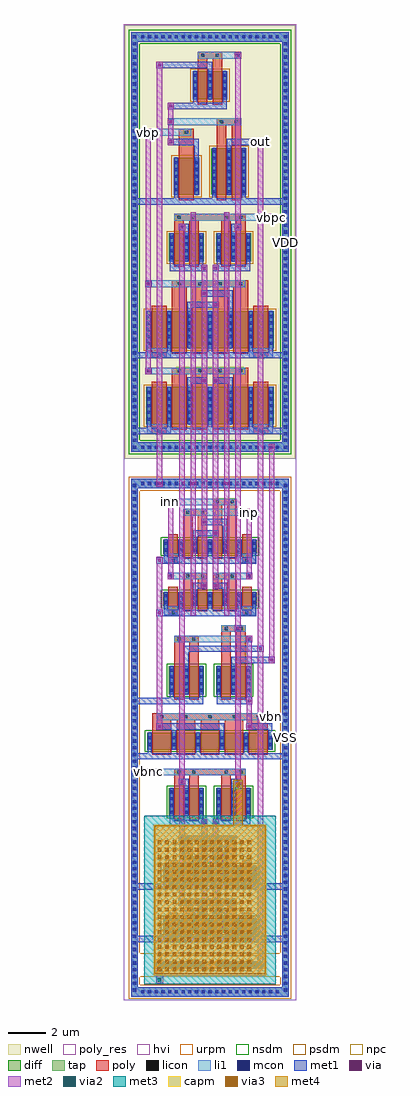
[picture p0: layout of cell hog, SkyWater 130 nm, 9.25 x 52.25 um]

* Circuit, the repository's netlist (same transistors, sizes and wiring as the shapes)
.subckt hog inp inn out vbn vbp vbnc vbpc VDD VSS
MXMm1 e1 c1 VSS VSS nfet_g5v0d10v5 w=3u l=0.5u
MXMm2 e2 c1 VSS VSS nfet_g5v0d10v5 w=3u l=0.5u
MXMcasn1 c1 vbnc e1 VSS nfet_g5v0d10v5 w=3u l=0.5u
MXMcasn2 s1_out vbnc e2 VSS nfet_g5v0d10v5 w=3u l=0.5u
MXMtail stail vbn VSS VSS nfet_g5v0d10v5 w=3.6u l=1u
MXMinb ndrv vbn VSS VSS nfet_g5v0d10v5 w=0.9u l=1u
MXMd1 d1 inn stail VSS nfet_g5v0d10v5 w=3u l=0.5u
MXMd2 d2 inp stail VSS nfet_g5v0d10v5 w=3u l=0.5u
MXMncs out ndrv VSS VSS nfet_g5v0d10v5 w=3u l=0.5u
MXMnls VDD s1_out ndrv VSS nfet_g5v0d10v5 w=3u l=0.5u
MXMpls VSS s1_out pdrv VDD pfet_g5v0d10v5 w=3u l=0.5u
MXMpcs out pdrv VDD VDD pfet_g5v0d10v5 w=5u l=0.5u
MXMipb pdrv vbp VDD VDD pfet_g5v0d10v5 w=2u l=0.8u
MXMcasp1 c1 vbpc d1 VDD pfet_g5v0d10v5 w=3u l=0.5u
MXMcasp2 s1_out vbpc d2 VDD pfet_g5v0d10v5 w=3u l=0.5u
MXMiref1 d1 vbp VDD VDD pfet_g5v0d10v5 w=8u l=0.8u
MXMiref2 d2 vbp VDD VDD pfet_g5v0d10v5 w=8u l=0.8u
MXDUM0 VSS VSS VSS VSS nfet_g5v0d10v5 w=0.75u l=0.5u
MXDUM1 VSS VSS VSS VSS nfet_g5v0d10v5 w=0.75u l=0.5u
MXDUM2 VSS VSS VSS VSS nfet_g5v0d10v5 w=0.75u l=0.5u
MXDUM3 VSS VSS VSS VSS nfet_g5v0d10v5 w=0.75u l=0.5u
MXDUM4 stail stail stail VSS nfet_g5v0d10v5 w=0.75u l=0.5u
MXDUM5 stail stail stail VSS nfet_g5v0d10v5 w=0.75u l=0.5u
MXDUM6 stail stail stail VSS nfet_g5v0d10v5 w=0.75u l=0.5u
MXDUM7 stail stail stail VSS nfet_g5v0d10v5 w=0.75u l=0.5u
MXDUM8 VDD VDD VDD VDD pfet_g5v0d10v5 w=2u l=0.8u
MXDUM9 VDD VDD VDD VDD pfet_g5v0d10v5 w=2u l=0.8u
MXDUM10 VDD VDD VDD VDD pfet_g5v0d10v5 w=2u l=0.8u
MXDUM11 VDD VDD VDD VDD pfet_g5v0d10v5 w=2u l=0.8u
CCc s1_out cmid cap_mim_m3__base w=6.030u l=8.040u
RRz cmid out $SUB=VSS $[res_xhigh_po_0p35] w=0.350u l=0.680u
.ends hog

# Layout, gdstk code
import gdstk
lib = gdstk.Library(unit=1e-6, precision=1e-09)
def R(c, l, rs):  # rectangles x0, y0, x1, y1
    for r in rs: c.add(gdstk.rectangle(r[:2], r[2:], *l))
def A(c, l, x, y, w, h, nx, ny, dx, dy):  # array of equal rectangles
    R(c, l, [(x+i*dx, y+j*dy, x+i*dx+w, y+j*dy+h) for i in range(nx) for j in range(ny)])
nwell = (64, 20)
diff = (65, 20)
tap = (65, 44)
poly_res = (66, 13)
poly = (66, 20)
licon = (66, 44)
li1 = (67, 20)
mcon = (67, 44)
met1 = (68, 20)
via = (68, 44)
met2 = (69, 20)
via2 = (69, 44)
met3 = (70, 20)
via3 = (70, 44)
met4 = (71, 20)
hvi = (75, 20)
urpm = (79, 20)
capm = (89, 44)
nsdm = (93, 44)
psdm = (94, 20)
npc = (95, 20)

hog = lib.new_cell('hog')
R(hog, nwell, [(-4.565,29.03,4.565,52.25)])
R(hog, diff, [(-2.515,3.69,2.515,4.44), (-2.515,6.5,2.515,7.25), (-2.195,9.91,-0.325,11.41), (0.325,9.91,2.195,11.41), (-3.37,13.47,3.37,14.37), (-2.195,16.43,-0.325,17.93), (0.325,16.43,2.195,17.93), (-2.515,21.15,2.515,21.9), (-2.515,23.96,2.515,24.71), (-3.415,30.88,3.415,32.88), (-3.415,34.94,3.415,36.94), (-2.195,39.6,-0.325,41.1), (0.325,39.6,2.195,41.1), (-1.95,43.16,-0.57,45.16), (0.08,43.16,1.95,45.66), (-0.935,48.28,0.935,49.78)])
R(hog, tap, [(-4.215,0.25,4.215,0.75), (-4.215,0.25,-3.875,27.96), (3.875,0.25,4.215,27.96), (-4.215,27.46,4.215,27.96), (-4.215,29.41,4.215,29.91), (-4.215,29.41,-3.875,51.87), (3.875,29.41,4.215,51.87), (-4.215,51.37,4.215,51.87)])
R(hog, poly_res, [(-0.34,1.76,0.34,2.11)])
A(hog, poly, -1.435, 3.405, 0.5, 1.32, 4, 2, 0.79, 2.81)
A(hog, poly, -1.435, 4.44, 0.5, 0.86, 4, 2, 0.79, 17.46)
A(hog, poly, -1.435, 7.25, 0.5, 1.46, 4, 1, 0.79, 0)
A(hog, poly, -3.08, 13.185, 1, 1.47, 5, 1, 1.29, 0)
A(hog, poly, -3.08, 14.37, 1, 0.86, 5, 1, 1.29, 0)
A(hog, poly, -1.435, 20.865, 0.5, 1.32, 4, 2, 0.79, 2.81)
A(hog, poly, -2.035, 30.595, 0.8, 2.57, 4, 2, 1.09, 4.06)
A(hog, poly, -2.035, 32.88, 0.8, 0.86, 4, 1, 1.09, 0)
A(hog, poly, -2.035, 36.94, 0.8, 1.46, 4, 1, 1.09, 0)
R(hog, poly, [(-2.5,1.76,2.5,2.11), (-2.225,3.195,-1.725,4.725), (1.725,3.195,2.225,4.725), (-1.435,5.12,1.435,5.48), (-2.225,6.005,-1.725,7.535), (1.725,6.005,2.225,7.535), (-1.435,8.53,1.435,8.89), (-1.905,9.625,-1.405,11.695), (-1.115,9.625,-0.615,11.695), (0.615,9.625,1.115,11.695), (1.405,9.625,1.905,11.695), (-1.905,11.41,-1.405,12.27), (-1.115,11.41,-0.615,12.27), (0.615,11.41,1.115,12.27), (1.405,11.41,1.905,12.27), (-1.905,12.09,1.905,12.45), (-3.08,15.05,3.08,15.41), (-1.905,16.145,-1.405,18.215), (-1.115,16.145,-0.615,18.215), (0.615,16.145,1.115,18.215), (1.405,16.145,1.905,18.215), (-1.905,17.93,-1.405,19.39), (-1.115,17.93,-0.615,19.39), (0.615,17.93,1.115,19.95), (1.405,17.93,1.905,19.95), (-1.905,19.21,-0.615,19.57), (0.615,19.77,1.905,20.13), (-2.225,20.655,-1.725,22.185), (1.725,20.655,2.225,22.185), (-1.435,22.58,-0.145,22.94), (0.145,22.58,1.435,22.94), (-2.225,23.465,-1.725,24.995), (1.725,23.465,2.225,24.995), (-1.435,24.71,-0.935,26.17), (-0.645,24.71,-0.145,26.17), (0.145,24.71,0.645,26.73), (0.935,24.71,1.435,26.73), (-1.435,25.99,-0.145,26.35), (0.145,26.55,1.435,26.91), (-3.125,30.385,-2.325,33.165), (2.325,30.385,3.125,33.165), (-2.035,33.56,2.035,33.92), (-3.125,34.445,-2.325,37.225), (2.325,34.445,3.125,37.225), (-2.035,38.22,2.035,38.58), (-1.905,39.315,-1.405,41.385), (-1.115,39.315,-0.615,41.385), (0.615,39.315,1.115,41.385), (1.405,39.315,1.905,41.385), (-1.905,41.1,-1.405,41.96), (-1.115,41.1,-0.615,41.96), (0.615,41.1,1.115,41.96), (1.405,41.1,1.905,41.96), (-1.905,41.78,1.905,42.14), (-1.66,42.875,-0.86,45.445), (0.37,42.875,0.87,45.945), (1.16,42.875,1.66,45.945), (-1.66,45.16,-0.86,46.52), (0.37,45.66,0.87,47.08), (1.16,45.66,1.66,47.08), (-1.66,46.34,-0.86,46.7), (0.37,46.9,1.66,47.26), (-0.645,47.995,-0.145,50.065), (0.145,47.995,0.645,50.065), (-0.645,49.78,-0.145,50.64), (0.145,49.78,0.645,50.64), (-0.645,50.46,0.645,50.82)])
A(hog, licon, -3.685, 0.415, 0.17, 0.17, 21, 2, 0.36, 27.21)
A(hog, licon, -4.13, 0.52, 0.17, 0.17, 1, 76, 0, 0.36)
A(hog, licon, 3.96, 0.52, 0.17, 0.17, 1, 76, 0, 0.36)
A(hog, licon, -2.455, 3.8, 0.17, 0.17, 7, 2, 0.79, 0.36)
A(hog, licon, -1.27, 5.215, 0.17, 0.17, 4, 2, 0.79, 3.41)
A(hog, licon, -2.455, 6.61, 0.17, 0.17, 7, 2, 0.79, 0.36)
A(hog, licon, -2.135, 10.035, 0.17, 0.17, 3, 4, 0.79, 0.36)
A(hog, licon, 0.385, 10.035, 0.17, 0.17, 3, 4, 0.79, 0.36)
A(hog, licon, -3.31, 13.655, 0.17, 0.17, 6, 2, 1.29, 0.36)
A(hog, licon, -2.665, 15.145, 0.17, 0.17, 5, 1, 1.29, 0)
A(hog, licon, -2.135, 16.555, 0.17, 0.17, 3, 4, 0.79, 0.36)
A(hog, licon, 0.385, 16.555, 0.17, 0.17, 3, 4, 0.79, 0.36)
A(hog, licon, -2.455, 21.26, 0.17, 0.17, 7, 2, 0.79, 0.36)
A(hog, licon, -1.27, 22.675, 0.17, 0.17, 4, 1, 0.79, 0)
A(hog, licon, -2.455, 24.07, 0.17, 0.17, 7, 2, 0.79, 0.36)
A(hog, licon, -4.13, 29.575, 0.17, 0.17, 1, 62, 0, 0.36)
A(hog, licon, -3.685, 29.575, 0.17, 0.17, 21, 2, 0.36, 21.96)
A(hog, licon, 3.96, 29.575, 0.17, 0.17, 1, 62, 0, 0.36)
A(hog, licon, -3.355, 31.075, 0.17, 0.17, 7, 5, 1.09, 0.36)
A(hog, licon, -1.72, 33.655, 0.17, 0.17, 4, 2, 1.09, 4.66)
A(hog, licon, -3.355, 35.135, 0.17, 0.17, 7, 5, 1.09, 0.36)
A(hog, licon, -2.135, 39.725, 0.17, 0.17, 3, 4, 0.79, 0.36)
A(hog, licon, 0.385, 39.725, 0.17, 0.17, 3, 4, 0.79, 0.36)
A(hog, licon, 0.14, 43.245, 0.17, 0.17, 3, 7, 0.79, 0.36)
A(hog, licon, -1.89, 43.355, 0.17, 0.17, 1, 5, 0, 0.36)
A(hog, licon, -0.8, 43.355, 0.17, 0.17, 1, 5, 0, 0.36)
A(hog, licon, -0.875, 48.405, 0.17, 0.17, 3, 4, 0.79, 0.36)
R(hog, licon, [(-2.42,1.84,-0.42,2.03), (0.42,1.84,2.42,2.03), (-2.06,3.245,-1.89,3.415), (1.89,3.245,2.06,3.415), (-2.06,6.055,-1.89,6.225), (1.89,6.055,2.06,6.225), (-1.74,12.185,-1.57,12.355), (-0.95,12.185,-0.78,12.355), (0.78,12.185,0.95,12.355), (1.57,12.185,1.74,12.355), (-1.74,19.305,-1.57,19.475), (-0.95,19.305,-0.78,19.475), (0.78,19.865,0.95,20.035), (1.57,19.865,1.74,20.035), (-2.06,20.705,-1.89,20.875), (1.89,20.705,2.06,20.875), (-2.06,23.515,-1.89,23.685), (1.89,23.515,2.06,23.685), (-1.27,26.085,-1.1,26.255), (-0.48,26.085,-0.31,26.255), (0.31,26.645,0.48,26.815), (1.1,26.645,1.27,26.815), (-2.81,30.435,-2.64,30.605), (2.64,30.435,2.81,30.605), (-2.81,34.495,-2.64,34.665), (2.64,34.495,2.81,34.665), (-1.74,41.875,-1.57,42.045), (-0.95,41.875,-0.78,42.045), (0.78,41.875,0.95,42.045), (1.57,41.875,1.74,42.045), (-1.345,46.435,-1.175,46.605), (0.535,46.995,0.705,47.165), (1.325,46.995,1.495,47.165), (-0.48,50.555,-0.31,50.725), (0.31,50.555,0.48,50.725)])
A(hog, li1, -2.455, 3.67, 0.17, 0.79, 7, 2, 0.79, 2.81)
A(hog, li1, -2.135, 9.89, 0.17, 1.54, 3, 2, 0.79, 6.52)
A(hog, li1, 0.385, 9.89, 0.17, 1.54, 3, 2, 0.79, 6.52)
A(hog, li1, -3.31, 13.45, 0.17, 0.94, 6, 1, 1.29, 0)
A(hog, li1, -2.455, 21.13, 0.17, 0.79, 7, 2, 0.79, 2.81)
A(hog, li1, -3.355, 30.86, 0.17, 2.04, 7, 2, 1.09, 4.06)
A(hog, li1, -2.135, 39.58, 0.17, 1.54, 3, 1, 0.79, 0)
A(hog, li1, 0.385, 39.58, 0.17, 1.54, 3, 1, 0.79, 0)
A(hog, li1, 0.14, 43.14, 0.17, 2.54, 3, 1, 0.79, 0)
A(hog, li1, -0.875, 48.26, 0.17, 1.54, 3, 1, 0.79, 0)
R(hog, li1, [(-4.215,0.25,-3.875,27.96), (-4.215,0.25,4.215,0.75), (3.875,0.25,4.215,27.96), (-2.5,1.73,-0.34,2.14), (0.34,1.73,2.5,2.14), (-2.455,3.195,-1.495,3.69), (1.495,3.195,2.455,3.69), (-1.67,5.12,1.435,5.48), (-2.455,6.005,-1.495,6.5), (1.495,6.005,2.455,6.5), (-1.67,8.53,1.435,8.89), (-3.47,12.09,1.905,12.45), (-2.83,15.05,3.47,15.41), (-1.905,19.21,2.27,19.57), (0.615,19.77,1.905,20.13), (-2.455,20.655,-1.495,21.15), (1.495,20.655,2.455,21.15), (-2.27,22.58,-0.145,22.94), (0.145,22.58,2.27,22.94), (-2.455,23.465,-1.495,23.96), (1.495,23.465,2.455,23.96), (-1.435,25.99,2.27,26.35), (-2.27,26.55,1.435,26.91), (-4.215,27.46,4.215,27.96), (-4.215,29.41,4.215,29.91), (-4.215,29.41,-3.875,51.87), (3.875,29.41,4.215,51.87), (-3.355,30.385,-2.095,30.88), (2.095,30.385,3.355,30.88), (-3.47,33.56,1.885,33.92), (-3.355,34.445,-2.095,34.94), (2.095,34.445,3.355,34.94), (-3.47,38.22,1.885,38.58), (-1.905,41.78,3.47,42.14), (-1.89,43.14,-1.72,45.18), (-0.8,43.14,-0.63,45.18), (-3.47,46.34,-1.01,46.7), (-2.27,46.9,1.66,47.26), (-0.645,50.46,1.67,50.82), (-4.215,51.37,4.215,51.87)])
A(hog, mcon, -3.685, 0.415, 0.17, 0.17, 21, 2, 0.36, 27.21)
A(hog, mcon, -4.13, 0.52, 0.17, 0.17, 1, 76, 0, 0.36)
A(hog, mcon, 3.96, 0.52, 0.17, 0.17, 1, 76, 0, 0.36)
A(hog, mcon, -2.405, 1.85, 0.17, 0.17, 6, 1, 0.36, 0)
A(hog, mcon, 0.435, 1.85, 0.17, 0.17, 6, 1, 0.36, 0)
A(hog, mcon, -2.455, 3.8, 0.17, 0.17, 7, 2, 0.79, 0.36)
A(hog, mcon, -2.455, 6.61, 0.17, 0.17, 7, 2, 0.79, 0.36)
A(hog, mcon, -2.135, 10.035, 0.17, 0.17, 3, 4, 0.79, 0.36)
A(hog, mcon, 0.385, 10.035, 0.17, 0.17, 3, 4, 0.79, 0.36)
A(hog, mcon, -3.31, 13.655, 0.17, 0.17, 6, 2, 1.29, 0.36)
A(hog, mcon, -2.135, 16.555, 0.17, 0.17, 3, 4, 0.79, 0.36)
A(hog, mcon, 0.385, 16.555, 0.17, 0.17, 3, 4, 0.79, 0.36)
A(hog, mcon, -2.455, 21.26, 0.17, 0.17, 7, 2, 0.79, 0.36)
A(hog, mcon, -2.455, 24.07, 0.17, 0.17, 7, 2, 0.79, 0.36)
A(hog, mcon, -4.13, 29.575, 0.17, 0.17, 1, 62, 0, 0.36)
A(hog, mcon, -3.685, 29.575, 0.17, 0.17, 21, 2, 0.36, 21.96)
A(hog, mcon, 3.96, 29.575, 0.17, 0.17, 1, 62, 0, 0.36)
A(hog, mcon, -3.355, 31.075, 0.17, 0.17, 7, 5, 1.09, 0.36)
A(hog, mcon, -3.355, 35.135, 0.17, 0.17, 7, 5, 1.09, 0.36)
A(hog, mcon, -2.135, 39.725, 0.17, 0.17, 3, 4, 0.79, 0.36)
A(hog, mcon, 0.385, 39.725, 0.17, 0.17, 3, 4, 0.79, 0.36)
A(hog, mcon, 0.14, 43.245, 0.17, 0.17, 3, 7, 0.79, 0.36)
A(hog, mcon, -1.89, 43.355, 0.17, 0.17, 1, 5, 0, 0.36)
A(hog, mcon, -0.8, 43.355, 0.17, 0.17, 1, 5, 0, 0.36)
A(hog, mcon, -0.875, 48.405, 0.17, 0.17, 3, 4, 0.79, 0.36)
R(hog, mcon, [(-1.585,5.215,-1.415,5.385), (-1.585,8.625,-1.415,8.795), (-3.385,12.185,-3.215,12.355), (3.215,15.145,3.385,15.315), (2.015,19.305,2.185,19.475), (1.415,19.865,1.585,20.035), (-2.185,22.675,-2.015,22.845), (2.015,22.675,2.185,22.845), (2.015,26.085,2.185,26.255), (-2.185,26.645,-2.015,26.815), (-3.385,33.655,-3.215,33.825), (-3.385,38.315,-3.215,38.485), (3.215,41.875,3.385,42.045), (-3.385,46.435,-3.215,46.605), (-2.185,46.995,-2.015,47.165), (1.415,50.555,1.585,50.725)])
A(hog, met1, -1.695, 3.16, 0.23, 0.53, 3, 2, 1.58, 2.81)
A(hog, met1, -2.485, 3.69, 0.23, 0.75, 7, 2, 0.79, 2.81)
A(hog, met1, -2.165, 9.91, 0.23, 1.5, 3, 2, 0.79, 6.52)
A(hog, met1, 0.355, 9.91, 0.23, 1.5, 3, 2, 0.79, 6.52)
A(hog, met1, -3.34, 12.94, 0.23, 0.53, 3, 1, 2.58, 0)
A(hog, met1, -3.34, 13.47, 0.23, 0.9, 6, 1, 1.29, 0)
A(hog, met1, -2.05, 14.37, 0.23, 0.51, 3, 1, 2.58, 0)
A(hog, met1, -1.695, 20.62, 0.23, 0.53, 3, 2, 1.58, 2.81)
A(hog, met1, -2.485, 21.15, 0.23, 0.75, 7, 2, 0.79, 2.81)
A(hog, met1, -2.865, 27.545, 0.33, 0.33, 3, 1, 1.8, 0)
A(hog, met1, -2.295, 30.35, 0.23, 0.53, 3, 2, 2.18, 4.06)
A(hog, met1, -3.385, 30.88, 0.23, 2, 7, 2, 1.09, 4.06)
A(hog, met1, -2.165, 39.6, 0.23, 1.5, 3, 1, 0.79, 0)
A(hog, met1, 0.355, 39.6, 0.23, 1.5, 3, 1, 0.79, 0)
A(hog, met1, 0.11, 43.16, 0.23, 2.5, 3, 1, 0.79, 0)
A(hog, met1, -0.905, 48.28, 0.23, 1.5, 3, 1, 0.79, 0)
R(hog, met1, [(-4.215,0.25,-3.875,27.96), (-4.215,0.25,4.215,0.75), (3.875,0.25,4.215,27.96), (-2.865,1.765,-0.39,2.105), (0.39,1.765,2.865,2.105), (-4.045,3.16,4.045,3.5), (-2.485,3.16,-2.255,3.69), (2.255,3.16,2.485,3.69), (-0.905,4.44,-0.675,4.95), (0.675,4.44,0.905,4.95), (-0.905,4.61,-0.135,4.95), (0.135,4.61,0.905,4.95), (-0.465,4.615,-0.135,4.945), (0.135,4.615,0.465,4.945), (-1.67,5.13,-1.33,5.47), (-4.045,5.97,4.045,6.31), (-2.485,5.97,-2.255,6.5), (2.255,5.97,2.485,6.5), (-0.905,7.25,-0.675,7.76), (0.675,7.25,0.905,8.36), (-0.905,7.42,0.465,7.76), (0.135,7.425,0.465,7.755), (-0.465,8.02,0.905,8.36), (-0.465,8.025,-0.135,8.355), (-1.67,8.54,-1.33,8.88), (-2.165,9.38,-1.935,9.91), (-2.165,9.38,-0.135,9.72), (-0.585,9.38,-0.355,9.91), (0.135,9.38,2.165,9.72), (0.355,9.38,0.585,9.91), (1.935,9.38,2.165,9.91), (-0.465,9.385,-0.135,9.715), (0.135,9.385,0.465,9.715), (-1.375,11.41,-1.145,11.92), (1.145,11.41,1.375,11.92), (-1.665,11.58,-1.145,11.92), (1.145,11.58,1.665,11.92), (-1.665,11.585,-1.335,11.915), (1.335,11.585,1.665,11.915), (-3.47,12.1,-3.13,12.44), (-4.045,12.94,4.045,13.28), (-2.865,14.54,0.76,14.88), (1.935,14.54,3.34,14.88), (-2.865,14.545,-2.535,14.875), (1.935,14.545,2.265,14.875), (3.13,15.06,3.47,15.4), (-4.045,15.9,-0.355,16.24), (-2.165,15.9,-1.935,16.43), (-0.585,15.9,-0.355,16.43), (0.355,15.9,0.585,16.43), (0.355,15.9,2.265,16.24), (1.935,15.9,2.165,16.43), (1.935,15.905,2.265,16.235), (-1.375,17.93,-1.145,19.04), (1.145,17.93,1.375,18.44), (1.145,18.1,3.465,18.44), (3.135,18.105,3.465,18.435), (-1.375,18.7,2.865,19.04), (2.535,18.705,2.865,19.035), (1.93,19.22,2.27,19.56), (1.33,19.78,1.67,20.12), (-2.865,20.62,2.485,20.96), (-2.485,20.62,-2.255,21.15), (2.255,20.62,2.485,21.15), (-2.865,20.625,-2.535,20.955), (-0.905,21.9,-0.675,22.41), (0.675,21.9,0.905,22.41), (-0.905,22.07,-0.135,22.41), (0.135,22.07,0.905,22.41), (-0.465,22.075,-0.135,22.405), (0.135,22.075,0.465,22.405), (-2.27,22.59,-1.93,22.93), (1.93,22.59,2.27,22.93), (-2.865,23.43,2.485,23.77), (-2.485,23.43,-2.255,23.96), (2.255,23.43,2.485,23.96), (-2.865,23.435,-2.535,23.765), (-0.905,24.71,-0.675,25.22), (0.675,24.71,0.905,25.82), (-0.905,24.88,0.465,25.22), (0.135,24.885,0.465,25.215), (-0.465,25.48,0.905,25.82), (-0.465,25.485,-0.135,25.815), (1.93,26,2.27,26.34), (-2.27,26.56,-1.93,26.9), (-4.215,27.46,4.215,27.96), (-4.215,29.41,4.215,29.91), (-4.215,29.41,-3.875,51.87), (3.875,29.41,4.215,51.87), (3.135,29.495,3.465,29.825), (-4.045,30.35,4.045,30.69), (-3.385,30.35,-3.155,30.88), (3.155,30.35,3.385,30.88), (-1.205,32.88,-0.975,33.39), (0.975,32.88,1.205,33.39), (-1.205,33.05,-0.135,33.39), (0.135,33.05,1.205,33.39), (-0.465,33.055,-0.135,33.385), (0.135,33.055,0.465,33.385), (-3.47,33.57,-3.13,33.91), (-4.045,34.41,4.045,34.75), (-3.385,34.41,-3.155,34.94), (3.155,34.41,3.385,34.94), (-1.205,36.94,-0.975,37.45), (0.975,36.94,1.205,38.05), (-1.205,37.11,0.465,37.45), (0.135,37.115,0.465,37.445), (-0.465,37.71,1.205,38.05), (-0.465,37.715,-0.135,38.045), (-3.47,38.23,-3.13,38.57), (-2.165,39.07,-1.935,39.6), (-2.165,39.07,-0.135,39.41), (-0.585,39.07,-0.355,39.6), (0.135,39.07,2.165,39.41), (0.355,39.07,0.585,39.6), (1.935,39.07,2.165,39.6), (-0.465,39.075,-0.135,39.405), (0.135,39.075,0.465,39.405), (-1.375,41.1,-1.145,41.61), (1.145,41.1,1.375,41.61), (-1.665,41.27,-1.145,41.61), (1.145,41.27,1.665,41.61), (-1.665,41.275,-1.335,41.605), (1.335,41.275,1.665,41.605), (3.13,41.79,3.47,42.13), (-4.045,42.63,4.045,42.97), (-1.92,42.63,-1.69,43.16), (0.11,42.63,0.34,43.16), (1.69,42.63,1.92,43.16), (-1.92,43.16,-1.69,45.16), (-0.83,43.16,-0.6,45.16), (-0.83,45.16,-0.6,46.17), (0.9,45.66,1.13,46.17), (-2.265,45.83,-0.6,46.17), (0.9,45.83,2.865,46.17), (-2.265,45.835,-1.935,46.165), (2.535,45.835,2.865,46.165), (-3.47,46.35,-3.13,46.69), (-2.27,46.91,-1.93,47.25), (-2.265,47.75,0.905,48.09), (-0.905,47.75,-0.675,48.28), (0.675,47.75,0.905,48.28), (-2.265,47.755,-1.935,48.085), (-0.115,49.78,0.115,50.29), (-2.865,49.95,0.115,50.29), (-2.865,49.955,-2.535,50.285), (1.33,50.47,1.67,50.81), (-4.215,51.37,4.215,51.87)])
A(hog, via, -2.775, 27.635, 0.15, 0.15, 3, 1, 1.8, 0)
R(hog, via, [(-2.775,1.86,-2.625,2.01), (2.625,1.86,2.775,2.01), (-0.375,4.705,-0.225,4.855), (0.225,4.705,0.375,4.855), (-1.575,5.225,-1.425,5.375), (0.225,7.515,0.375,7.665), (-0.375,8.115,-0.225,8.265), (-1.575,8.635,-1.425,8.785), (-0.375,9.475,-0.225,9.625), (0.225,9.475,0.375,9.625), (-1.575,11.675,-1.425,11.825), (1.425,11.675,1.575,11.825), (-3.375,12.195,-3.225,12.345), (-2.775,14.635,-2.625,14.785), (2.025,14.635,2.175,14.785), (3.225,15.155,3.375,15.305), (2.025,15.995,2.175,16.145), (3.225,18.195,3.375,18.345), (2.625,18.795,2.775,18.945), (2.025,19.315,2.175,19.465), (1.425,19.875,1.575,20.025), (-2.775,20.715,-2.625,20.865), (-0.375,22.165,-0.225,22.315), (0.225,22.165,0.375,22.315), (-2.175,22.685,-2.025,22.835), (2.025,22.685,2.175,22.835), (-2.775,23.525,-2.625,23.675), (0.225,24.975,0.375,25.125), (-0.375,25.575,-0.225,25.725), (2.025,26.095,2.175,26.245), (-2.175,26.655,-2.025,26.805), (3.225,29.585,3.375,29.735), (-0.375,33.145,-0.225,33.295), (0.225,33.145,0.375,33.295), (-3.375,33.665,-3.225,33.815), (0.225,37.205,0.375,37.355), (-0.375,37.805,-0.225,37.955), (-3.375,38.325,-3.225,38.475), (-0.375,39.165,-0.225,39.315), (0.225,39.165,0.375,39.315), (-1.575,41.365,-1.425,41.515), (1.425,41.365,1.575,41.515), (3.225,41.885,3.375,42.035), (-2.175,45.925,-2.025,46.075), (2.625,45.925,2.775,46.075), (-3.375,46.445,-3.225,46.595), (-2.175,47.005,-2.025,47.155), (-2.175,47.845,-2.025,47.995), (-2.775,50.045,-2.625,50.195), (1.425,50.565,1.575,50.715)])
A(hog, met2, -2.865, 27.545, 0.33, 0.33, 3, 1, 1.8, 0)
R(hog, met2, [(-2.885,0.965,-2.515,1.335), (-2.84,0.97,-2.56,2.115), (2.56,1.755,2.84,46.18), (-2.865,1.77,-2.535,2.1), (2.535,1.77,2.865,2.1), (-0.44,4.6,-0.16,9.73), (0.16,4.6,0.44,9.73), (-0.465,4.615,-0.135,4.945), (0.135,4.615,0.465,4.945), (-1.64,5.12,-1.36,41.62), (-1.665,5.135,-1.335,5.465), (0.135,7.425,0.465,7.755), (-0.465,8.025,-0.135,8.355), (-1.665,8.545,-1.335,8.875), (-0.465,9.385,-0.135,9.715), (0.135,9.385,0.465,9.715), (1.315,11.415,1.685,11.785), (1.36,11.42,1.64,50.82), (-1.665,11.585,-1.335,11.915), (1.335,11.585,1.665,11.915), (-3.44,12.09,-3.16,12.45), (-3.465,12.105,-3.135,12.435), (-2.84,14.53,-2.56,23.78), (1.96,14.53,2.24,19.57), (-2.865,14.545,-2.535,14.875), (1.935,14.545,2.265,14.875), (3.16,15.05,3.44,15.41), (3.135,15.065,3.465,15.395), (1.935,15.905,2.265,16.235), (3.16,18.09,3.44,29.84), (3.135,18.105,3.465,18.435), (2.535,18.705,2.865,19.035), (1.935,19.225,2.265,19.555), (1.335,19.785,1.665,20.115), (-2.865,20.625,-2.535,20.955), (-1.04,20.63,-0.76,42.24), (0.76,20.63,1.04,42.24), (-0.44,22.06,-0.16,39.42), (0.16,22.06,0.44,39.42), (-0.465,22.075,-0.135,22.405), (0.135,22.075,0.465,22.405), (-2.24,22.58,-1.96,26.91), (1.96,22.58,2.24,26.35), (-2.265,22.595,-1.935,22.925), (1.935,22.595,2.265,22.925), (-2.865,23.435,-2.535,23.765), (0.135,24.885,0.465,25.215), (-0.465,25.485,-0.135,25.815), (1.935,26.005,2.265,26.335), (-2.265,26.565,-1.935,26.895), (-2.84,27.53,-2.56,50.3), (3.135,29.495,3.465,29.825), (-0.465,33.055,-0.135,33.385), (0.135,33.055,0.465,33.385), (-3.44,33.56,-3.16,46.7), (-3.465,33.575,-3.135,33.905), (0.135,37.115,0.465,37.445), (-0.465,37.715,-0.135,38.045), (-3.465,38.235,-3.135,38.565), (-0.465,39.075,-0.135,39.405), (0.135,39.075,0.465,39.405), (-1.665,41.275,-1.335,41.605), (1.335,41.275,1.665,41.605), (3.16,41.78,3.44,42.14), (3.135,41.795,3.465,42.125), (-2.24,45.82,-1.96,48.1), (-2.265,45.835,-1.935,46.165), (2.535,45.835,2.865,46.165), (-3.465,46.355,-3.135,46.685), (-2.265,46.915,-1.935,47.245), (-2.265,47.755,-1.935,48.085), (-2.865,49.955,-2.535,50.285), (1.335,50.475,1.665,50.805)])
R(hog, via2, [(-2.8,1.05,-2.6,1.25), (1.4,11.5,1.6,11.7)])
R(hog, met3, [(-3.515,0.9,3.515,9.94), (1.24,11.34,1.76,11.86)])
A(hog, via3, -2.805, 1.61, 0.2, 0.2, 13, 18, 0.4, 0.4)
R(hog, via3, [(1.4,11.5,1.6,11.7)])
R(hog, met4, [(-2.955,1.46,2.955,9.38), (1.24,9.38,1.76,11.86)])
R(hog, hvi, [(-4.625,0.065,4.625,52.31)])
R(hog, urpm, [(-2.7,1.3,2.7,2.57)])
R(hog, capm, [(-3.015,1.4,3.015,9.44)])
R(hog, nsdm, [(-2.64,3.565,2.64,4.565), (-2.64,6.375,2.64,7.375), (-2.32,9.785,-0.2,11.535), (0.2,9.785,2.32,11.535), (-3.495,13.345,3.495,14.495), (-2.32,16.305,-0.2,18.055), (0.2,16.305,2.32,18.055), (-2.64,21.025,2.64,22.025), (-2.64,23.835,2.64,24.835), (-4.34,29.285,4.34,30.035), (-4.34,29.285,-3.75,51.995), (3.75,29.285,4.34,51.995), (-4.34,51.245,4.34,51.995)])
R(hog, psdm, [(-4.34,0.125,4.34,0.875), (-4.34,0.125,-3.75,28.085), (3.75,0.125,4.34,28.085), (-3.925,1.3,3.925,2.57), (-4.34,27.335,4.34,28.085), (-3.54,30.755,3.54,33.005), (-3.54,34.815,3.54,37.065), (-2.32,39.475,-0.2,41.225), (0.2,39.475,2.32,41.225), (-2.075,43.035,-0.445,45.285), (-0.045,43.035,2.075,45.785), (-1.06,48.155,1.06,49.905)])
R(hog, npc, [(-2.6,1.4,2.6,2.47), (-2.16,3.145,-1.79,3.515), (1.79,3.145,2.16,3.515), (-1.37,5.115,1.37,5.485), (-2.16,5.955,-1.79,6.325), (1.79,5.955,2.16,6.325), (-1.37,8.525,1.37,8.895), (-1.84,12.085,1.84,12.455), (-2.765,15.045,2.765,15.415), (-1.84,19.205,-0.68,19.575), (0.68,19.765,1.84,20.135), (-2.16,20.605,-1.79,20.975), (1.79,20.605,2.16,20.975), (-1.37,22.575,-0.21,22.945), (0.21,22.575,1.37,22.945), (-2.16,23.415,-1.79,23.785), (1.79,23.415,2.16,23.785), (-1.37,25.985,-0.21,26.355), (0.21,26.545,1.37,26.915), (-2.91,30.335,-2.54,30.705), (2.54,30.335,2.91,30.705), (-1.82,33.555,1.82,33.925), (-2.91,34.395,-2.54,34.765), (2.54,34.395,2.91,34.765), (-1.82,38.215,1.82,38.585), (-1.84,41.775,1.84,42.145), (-1.445,46.335,-1.075,46.705), (0.435,46.895,1.595,47.265), (-0.58,50.455,0.58,50.825)])
hog.add(gdstk.Label('VDD', (4.045,40.64), layer=68, texttype=5))
hog.add(gdstk.Label('VSS', (4.045,14.105), layer=68, texttype=5))
hog.add(gdstk.Label('inp', (2.1,26.17), layer=69, texttype=5))
hog.add(gdstk.Label('inn', (-2.1,26.73), layer=69, texttype=5))
hog.add(gdstk.Label('out', (2.7,46), layer=69, texttype=5))
hog.add(gdstk.Label('vbn', (3.3,15.23), layer=69, texttype=5))
hog.add(gdstk.Label('vbp', (-3.3,46.52), layer=69, texttype=5))
hog.add(gdstk.Label('vbnc', (-3.3,12.27), layer=69, texttype=5))
hog.add(gdstk.Label('vbpc', (3.3,41.96), layer=69, texttype=5))

lib.write_gds('hog.gds')
